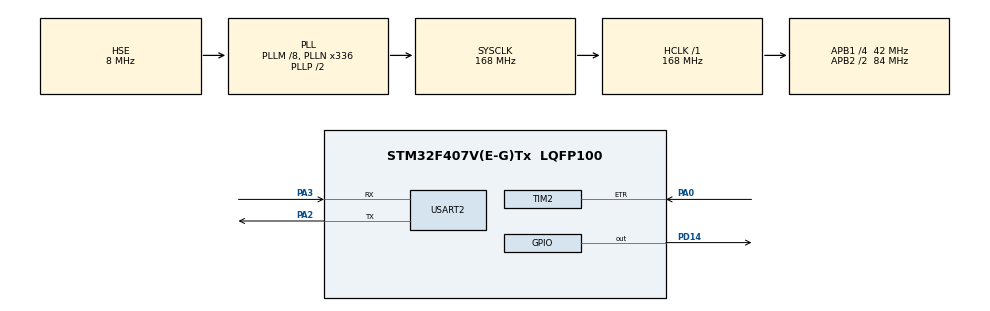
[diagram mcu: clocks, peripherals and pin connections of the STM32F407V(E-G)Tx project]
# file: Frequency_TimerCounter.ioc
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Mcu.Family=STM32F4
Mcu.Name=STM32F407V(E-G)Tx
Mcu.Package=LQFP100
NVIC.PriorityGroup=NVIC_PRIORITYGROUP_0
NVIC.TIM2_IRQn=true\:0\:0\:false\:false\:true\:true\:true\:true
NVIC.TIM3_IRQn=true\:0\:0\:false\:false\:true\:true\:true\:true
PA0-WKUP.Signal=S_TIM2_CH1_ETR
PA13.Mode=Serial_Wire
PA13.Signal=SYS_JTMS-SWDIO
PA14.Mode=Serial_Wire
PA14.Signal=SYS_JTCK-SWCLK
PA2.Mode=Asynchronous
PA2.Signal=USART2_TX
PA3.Mode=Asynchronous
PA3.Signal=USART2_RX
PD14.Signal=GPIO_Output
PH0-OSC_IN.Mode=HSE-External-Oscillator
PH0-OSC_IN.Signal=RCC_OSC_IN
PH1-OSC_OUT.Mode=HSE-External-Oscillator
PH1-OSC_OUT.Signal=RCC_OSC_OUT
ProjectManager.HeapSize=0x200
ProjectManager.StackSize=0x400
ProjectManager.TargetToolchain=STM32CubeIDE
RCC.48MHZClocksFreq_Value=48000000
RCC.AHBFreq_Value=168000000
RCC.APB1CLKDivider=RCC_HCLK_DIV4
RCC.APB1Freq_Value=42000000
RCC.APB1TimFreq_Value=84000000
RCC.APB2CLKDivider=RCC_HCLK_DIV2
RCC.APB2Freq_Value=84000000
RCC.APB2TimFreq_Value=168000000
RCC.CortexFreq_Value=168000000
RCC.HCLKFreq_Value=168000000
RCC.HSE_VALUE=8000000
RCC.HSI_VALUE=16000000
RCC.PLLM=8
RCC.PLLN=336
RCC.PLLQ=7
RCC.PLLSourceVirtual=RCC_PLLSOURCE_HSE
RCC.SYSCLKFreq_VALUE=168000000
RCC.SYSCLKSource=RCC_SYSCLKSOURCE_PLLCLK
RCC.VCOOutputFreq_Value=336000000
SH.S_TIM2_CH1_ETR.0=TIM2_ETR,ClockSourceETR_Mode2
TIM2.AutoReloadPreload=TIM_AUTORELOAD_PRELOAD_ENABLE
TIM2.Period=50
TIM3.AutoReloadPreload=TIM_AUTORELOAD_PRELOAD_ENABLE
TIM3.Period=9999
TIM3.Prescaler=8399
USART2.VirtualMode=VM_ASYNC
VP_TIM3_VS_ClockSourceINT.Mode=Internal
board=STM32F407G-DISC1

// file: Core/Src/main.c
/* USER CODE BEGIN Header */
/**
  ******************************************************************************
  * @file           : main.c
  * @brief          : Main program body
  ******************************************************************************
  * @attention
  *
  * Copyright (c) 2026 STMicroelectronics.
  * All rights reserved.
  *
  * This software is licensed under terms that can be found in the LICENSE file
  * in the root directory of this software component.
  * If no LICENSE file comes with this software, it is provided AS-IS.
  *
  ******************************************************************************
  */
/* USER CODE END Header */
#include "main.h"

/* USER CODE BEGIN Includes */
#include <stdio.h>
/* USER CODE END Includes */

TIM_HandleTypeDef htim2;
TIM_HandleTypeDef htim3;

UART_HandleTypeDef huart2;

/* USER CODE BEGIN PV */
volatile uint32_t pulse_count = 0;
volatile uint32_t frequency = 0;
volatile uint8_t print_flag = 0;
/* USER CODE END PV */

void SystemClock_Config(void);
static void MX_GPIO_Init(void);
static void MX_TIM2_Init(void);
static void MX_USART2_UART_Init(void);
static void MX_TIM3_Init(void);

int main(void)
{

  /* MCU Configuration--------------------------------------------------------*/

  /* Reset of all peripherals, Initializes the Flash interface and the Systick. */
  HAL_Init();

  /* USER CODE BEGIN Init */
  HAL_TIM_Base_Start_IT(&htim3);   // 1 sec interrupt
  HAL_TIM_Base_Start(&htim2);      // counter
  /* USER CODE END Init */

  /* Configure the system clock */
  SystemClock_Config();

  /* Initialize all configured peripherals */
  MX_GPIO_Init();
  MX_TIM2_Init();
  MX_USART2_UART_Init();
  MX_TIM3_Init();
  /* USER CODE BEGIN 2 */

  HAL_TIM_Base_Start_IT(&htim3);   // interrupt timer
  HAL_TIM_Base_Start(&htim2);      // counter timer
  /* USER CODE END 2 */

  /* Infinite loop */
  /* USER CODE BEGIN WHILE */
  while (1)
  {
	  if(print_flag)
	     {
	         print_flag = 0;
	         printf("Frequency = %lu Hz\r\n", frequency);
	     }
    /* USER CODE END WHILE */

  }
}

void SystemClock_Config(void)
{
  RCC_OscInitTypeDef RCC_OscInitStruct = {0};
  RCC_ClkInitTypeDef RCC_ClkInitStruct = {0};

  /** Configure the main internal regulator output voltage
  */
  __HAL_RCC_PWR_CLK_ENABLE();
  __HAL_PWR_VOLTAGESCALING_CONFIG(PWR_REGULATOR_VOLTAGE_SCALE1);

  /** Initializes the RCC Oscillators according to the specified parameters
  * in the RCC_OscInitTypeDef structure.
  */
  RCC_OscInitStruct.OscillatorType = RCC_OSCILLATORTYPE_HSE;
  RCC_OscInitStruct.HSEState = RCC_HSE_ON;
  RCC_OscInitStruct.PLL.PLLState = RCC_PLL_ON;
  RCC_OscInitStruct.PLL.PLLSource = RCC_PLLSOURCE_HSE;
  RCC_OscInitStruct.PLL.PLLM = 8;
  RCC_OscInitStruct.PLL.PLLN = 336;
  RCC_OscInitStruct.PLL.PLLP = RCC_PLLP_DIV2;
  RCC_OscInitStruct.PLL.PLLQ = 7;
  if (HAL_RCC_OscConfig(&RCC_OscInitStruct) != HAL_OK)
  {
    Error_Handler();
  }

  /** Initializes the CPU, AHB and APB buses clocks
  */
  RCC_ClkInitStruct.ClockType = RCC_CLOCKTYPE_HCLK|RCC_CLOCKTYPE_SYSCLK
                              |RCC_CLOCKTYPE_PCLK1|RCC_CLOCKTYPE_PCLK2;
  RCC_ClkInitStruct.SYSCLKSource = RCC_SYSCLKSOURCE_PLLCLK;
  RCC_ClkInitStruct.AHBCLKDivider = RCC_SYSCLK_DIV1;
  RCC_ClkInitStruct.APB1CLKDivider = RCC_HCLK_DIV4;
  RCC_ClkInitStruct.APB2CLKDivider = RCC_HCLK_DIV2;

  if (HAL_RCC_ClockConfig(&RCC_ClkInitStruct, FLASH_LATENCY_5) != HAL_OK)
  {
    Error_Handler();
  }
}

static void MX_TIM2_Init(void)
{

  TIM_ClockConfigTypeDef sClockSourceConfig = {0};
  TIM_MasterConfigTypeDef sMasterConfig = {0};

  htim2.Instance = TIM2;
  htim2.Init.Prescaler = 0;
  htim2.Init.CounterMode = TIM_COUNTERMODE_UP;
  htim2.Init.Period = 50;
  htim2.Init.ClockDivision = TIM_CLOCKDIVISION_DIV1;
  htim2.Init.AutoReloadPreload = TIM_AUTORELOAD_PRELOAD_ENABLE;
  if (HAL_TIM_Base_Init(&htim2) != HAL_OK)
  {
    Error_Handler();
  }
  sClockSourceConfig.ClockSource = TIM_CLOCKSOURCE_ETRMODE2;
  sClockSourceConfig.ClockPolarity = TIM_CLOCKPOLARITY_NONINVERTED;
  sClockSourceConfig.ClockPrescaler = TIM_CLOCKPRESCALER_DIV1;
  sClockSourceConfig.ClockFilter = 0;
  if (HAL_TIM_ConfigClockSource(&htim2, &sClockSourceConfig) != HAL_OK)
  {
    Error_Handler();
  }
  sMasterConfig.MasterOutputTrigger = TIM_TRGO_RESET;
  sMasterConfig.MasterSlaveMode = TIM_MASTERSLAVEMODE_DISABLE;
  if (HAL_TIMEx_MasterConfigSynchronization(&htim2, &sMasterConfig) != HAL_OK)
  {
    Error_Handler();
  }

}

static void MX_TIM3_Init(void)
{

  TIM_ClockConfigTypeDef sClockSourceConfig = {0};
  TIM_MasterConfigTypeDef sMasterConfig = {0};

  htim3.Instance = TIM3;
  htim3.Init.Prescaler = 8399;
  htim3.Init.CounterMode = TIM_COUNTERMODE_UP;
  htim3.Init.Period = 9999;
  htim3.Init.ClockDivision = TIM_CLOCKDIVISION_DIV1;
  htim3.Init.AutoReloadPreload = TIM_AUTORELOAD_PRELOAD_ENABLE;
  if (HAL_TIM_Base_Init(&htim3) != HAL_OK)
  {
    Error_Handler();
  }
  sClockSourceConfig.ClockSource = TIM_CLOCKSOURCE_INTERNAL;
  if (HAL_TIM_ConfigClockSource(&htim3, &sClockSourceConfig) != HAL_OK)
  {
    Error_Handler();
  }
  sMasterConfig.MasterOutputTrigger = TIM_TRGO_RESET;
  sMasterConfig.MasterSlaveMode = TIM_MASTERSLAVEMODE_DISABLE;
  if (HAL_TIMEx_MasterConfigSynchronization(&htim3, &sMasterConfig) != HAL_OK)
  {
    Error_Handler();
  }

}

static void MX_USART2_UART_Init(void)
{

  huart2.Instance = USART2;
  huart2.Init.BaudRate = 115200;
  huart2.Init.WordLength = UART_WORDLENGTH_8B;
  huart2.Init.StopBits = UART_STOPBITS_1;
  huart2.Init.Parity = UART_PARITY_NONE;
  huart2.Init.Mode = UART_MODE_TX_RX;
  huart2.Init.HwFlowCtl = UART_HWCONTROL_NONE;
  huart2.Init.OverSampling = UART_OVERSAMPLING_16;
  if (HAL_UART_Init(&huart2) != HAL_OK)
  {
    Error_Handler();
  }

}

static void MX_GPIO_Init(void)
{
  GPIO_InitTypeDef GPIO_InitStruct = {0};

  /* GPIO Ports Clock Enable */
  __HAL_RCC_GPIOH_CLK_ENABLE();
  __HAL_RCC_GPIOA_CLK_ENABLE();
  __HAL_RCC_GPIOD_CLK_ENABLE();

  /*Configure GPIO pin Output Level */
  HAL_GPIO_WritePin(GPIOD, GPIO_PIN_14, GPIO_PIN_RESET);

  /*Configure GPIO pin : PD14 */
  GPIO_InitStruct.Pin = GPIO_PIN_14;
  GPIO_InitStruct.Mode = GPIO_MODE_OUTPUT_PP;
  GPIO_InitStruct.Pull = GPIO_NOPULL;
  GPIO_InitStruct.Speed = GPIO_SPEED_FREQ_LOW;
  HAL_GPIO_Init(GPIOD, &GPIO_InitStruct);

}

/* USER CODE BEGIN 4 */
int _write(int file, char *ptr, int len)
{
    HAL_UART_Transmit(&huart2, (uint8_t*)ptr, len, HAL_MAX_DELAY);
    return len;
}
void HAL_TIM_PeriodElapsedCallback(TIM_HandleTypeDef *htim)
{
    if(htim->Instance == TIM3)
    {
        pulse_count = __HAL_TIM_GET_COUNTER(&htim2);
        frequency = pulse_count;
        __HAL_TIM_SET_COUNTER(&htim2, 0);

        print_flag = 1;
    }
}
/* USER CODE END 4 */

void Error_Handler(void)
{
  __disable_irq();
  while (1)
  {
  }
}
